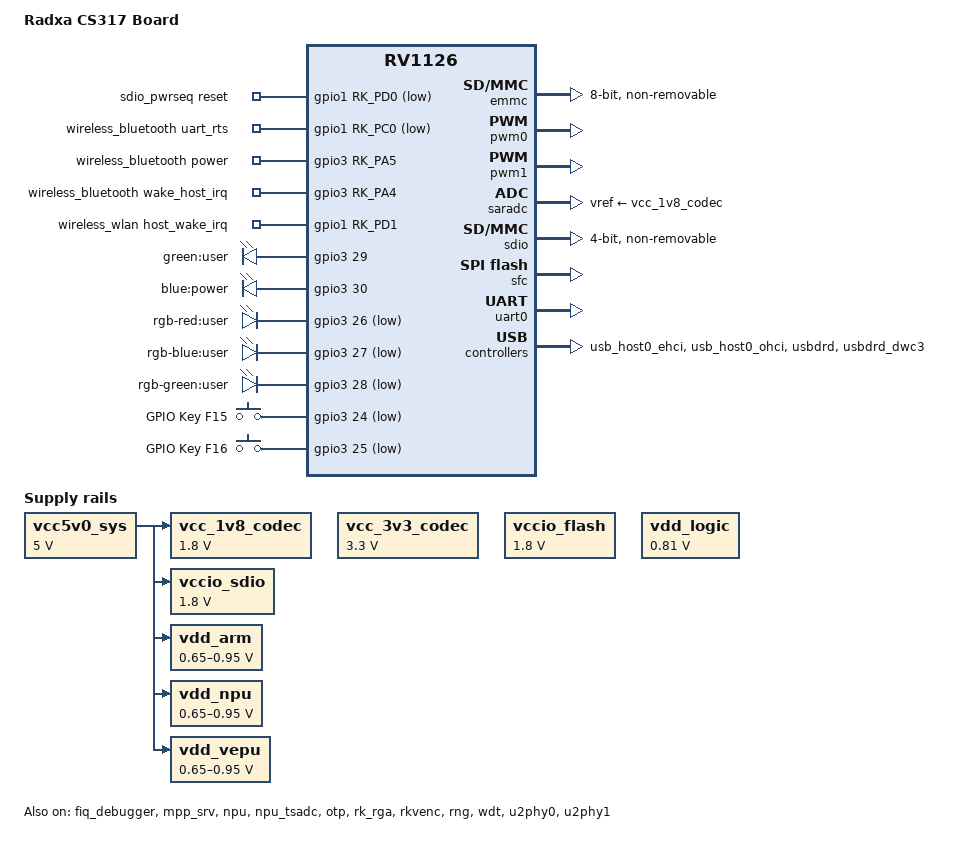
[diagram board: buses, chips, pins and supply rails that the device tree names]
/dts-v1/;

#include "rv1109.dtsi"
#include "rv1126.dtsi"
#include "rv1126-pinctrl.dtsi"
#include <dt-bindings/display/drm_mipi_dsi.h>
#include <dt-bindings/input/input.h>

/ {
	model = "Radxa CS317 Board";
	compatible = "rockchip,rv1109-CS317", "rockchip,rv1126";

	chosen {
		bootargs = "earlycon=uart8250,mmio32,0xff570000 console=ttyFIQ0 root=/dev/mmcblk0p6 rw rootfstype=ext4 rootwait";
		//bootargs = "earlycon=uart8250,mmio32,0xff570000 console=ttyFIQ0 root=PARTUUID=614e0000-0000 rootfstype=ext4 rootwait snd_aloop.index=7";
		//bootargs = "earlycon=uart8250,mmio32,0xfe660000 console=ttyFIQ0 root=/dev/mmcblk0p6 rw rootfstype=ext4 rootwait";
	};

	dummy_codec: dummy-codec {
		compatible = "rockchip,dummy-codec";
		#sound-dai-cells = <0>;
	};

	vcc5v0_sys: vccsys {
		compatible = "regulator-fixed";
		regulator-name = "vcc5v0_sys";
		regulator-always-on;
		regulator-boot-on;
		regulator-min-microvolt = <5000000>;
		regulator-max-microvolt = <5000000>;
	};

	vcc_3v3_codec: vcc_io: vcc-io {
        compatible = "regulator-fixed";
        regulator-name = "vcc_io";
        regulator-always-on;
        regulator-boot-on;
        regulator-min-microvolt = <3300000>;
        regulator-max-microvolt = <3300000>;
    };

	vcc_1v8_codec: vcc-1v8-codec {
		compatible = "regulator-fixed";
		regulator-name = "vcc_1v8_codec";
		regulator-always-on;
		regulator-boot-on;
		regulator-min-microvolt = <1800000>;
		regulator-max-microvolt = <1800000>;
		vin-supply = <&vcc5v0_sys>;
	};

	vccio_flash: vccio-flash {
		compatible = "regulator-fixed";
		regulator-name = "vccio_flash";
		regulator-always-on;
		regulator-boot-on;
		regulator-min-microvolt = <1800000>;
		regulator-max-microvolt = <1800000>;
	};

	vccio_sdio: vcc_1v8: vcc-1v8 {
        compatible = "regulator-fixed";
        regulator-name = "vcc_1v8";
        regulator-always-on;
        regulator-boot-on;
        regulator-min-microvolt = <1800000>;
        regulator-max-microvolt = <1800000>;
        vin-supply = <&vcc5v0_sys>;
    };

	vdd_arm: vdd-arm {
		compatible = "pwm-regulator";
		pwms = <&pwm0 0 5000 1>;
		regulator-name = "vdd_npu";
		regulator-min-microvolt = <650000>;
		regulator-max-microvolt = <950000>;
		regulator-init-microvolt = <800000>;
		regulator-always-on;
		regulator-boot-on;
		regulator-settling-time-up-us = <250>;
		pwm-supply = <&vcc5v0_sys>;
		status = "okay";
	};

	vdd_npu: vdd-npu {
		compatible = "pwm-regulator";
		pwms = <&pwm1 0 5000 1>;
		regulator-name = "vdd_npu";
		regulator-min-microvolt = <650000>;
		regulator-max-microvolt = <950000>;
		regulator-init-microvolt = <800000>;
		regulator-always-on;
		regulator-boot-on;
		regulator-settling-time-up-us = <250>;
		pwm-supply = <&vcc5v0_sys>;
		status = "okay";
	};

	vdd_vepu: vdd-vepu {
		compatible = "pwm-regulator";
		pwms = <&pwm1 0 5000 1>;
		regulator-name = "vdd_vepu";
		regulator-min-microvolt = <650000>;
		regulator-max-microvolt = <950000>;
		regulator-init-microvolt = <800000>;
		regulator-always-on;
		regulator-boot-on;
		regulator-settling-time-up-us = <250>;
		pwm-supply = <&vcc5v0_sys>;
		status = "okay";
	};

	vdd_logic: vdd-logic {
		compatible = "regulator-fixed";
		regulator-name = "vdd_logic";
		regulator-always-on;
		regulator-boot-on;
		regulator-min-microvolt = <810000>;
		regulator-max-microvolt = <810000>;
	};

	sdio_pwrseq: sdio-pwrseq {
		compatible = "mmc-pwrseq-simple";
		pinctrl-names = "default";
		pinctrl-0 = <&wifi_enable_h>;

		/*
		 * On the module itself this is one of these (depending
		 * on the actual card populated):
		 * - SDIO_RESET_L_WL_REG_ON
		 * - PDN (power down when low)
		 */
		reset-gpios = <&gpio1 RK_PD0 GPIO_ACTIVE_LOW>;	//GPIO1_D0----WIFI_REG_ON
	};

	wireless_bluetooth: wireless-bluetooth {
		compatible = "bluetooth-platdata";
		rockchip,pmugrf = <&pmugrf>;
		clocks = <&pmucru CLK_32K_IOE>;
		assigned-clocks = <&pmucru CLK_32K_IOE>;
		assigned-clock-parents = <&pmucru CLK_RTC32K>;
		uart_rts_gpios = <&gpio1 RK_PC0 GPIO_ACTIVE_LOW>;
		pinctrl-names = "default", "rts_gpio";
		pinctrl-0 = <&uart0_rtsn>;
		pinctrl-1 = <&uart0_rtsn_gpio>;
		BT,power_gpio    = <&gpio3 RK_PA5 GPIO_ACTIVE_HIGH>;
		BT,wake_host_irq = <&gpio3 RK_PA4 GPIO_ACTIVE_HIGH>;
		status = "okay";
	};

	wireless_wlan: wireless-wlan {
		compatible = "wlan-platdata";
		rockchip,grf = <&grf>;
		pinctrl-names = "default";
		pinctrl-0 = <&wifi_wake_host>;
		wifi_chip_type = "ap6254";
		/* WIFI,poweren_gpio = <&gpio0 RK_PA6 GPIO_ACTIVE_HIGH>; */
		WIFI,host_wake_irq = <&gpio1 RK_PD1 GPIO_ACTIVE_HIGH>;	//GPIO1_D1----WIFI_WAKE_HOST
		status = "okay";
	};

	gpio-leds {
		compatible = "gpio-leds";
		status = "okay";

		blue-led {
			label = "green:user";
			gpios = <&gpio3 29 GPIO_ACTIVE_HIGH>;	//GPIO3_D5
			linux,default-trigger = "default-on";
			default-state = "on";
		};

		green-led {
			label = "blue:power";
			gpios = <&gpio3 30 GPIO_ACTIVE_HIGH>;	//GPIO3_D6
			linux,default-trigger = "timer";
			default-state = "on";
		};
		
		rgb-red {
			label = "rgb-red:user";
			gpios = <&gpio3 26 GPIO_ACTIVE_LOW>;	//GPIO3_D2
			linux,default-trigger = "default-on";
			default-state = "off";
		};

		rgb-blue {
			label = "rgb-blue:user";
			gpios = <&gpio3 27 GPIO_ACTIVE_LOW>;	//GPIO3_D3
			linux,default-trigger = "default-on";
			default-state = "off";
		};

		rgb-green {
			label = "rgb-green:user";
			gpios = <&gpio3 28 GPIO_ACTIVE_LOW>;	//GPIO3_D4
			linux,default-trigger = "default-on";
			default-state = "off";
		};
	};

	gpio-keys {
        compatible = "gpio-keys";
        #address-cells = <1>;
        #size-cells = <0>;
        autorepeat;
        pinctrl-names = "default";
        pinctrl-0 = <&pwrbtn>;
                 
        F15 {
             gpios = <&gpio3 24 GPIO_ACTIVE_LOW>;	//GPIO3_D0
             linux,code = <KEY_F15>;
             label = "GPIO Key F15";
             linux,input-type = <1>;
             gpio-key,wakeup = <1>;
             debounce-interval = <100>;
        };

        F16 {
             gpios = <&gpio3 25 GPIO_ACTIVE_LOW>;	//GPIO3_D1
             linux,code = <KEY_F16>;
             label = "GPIO Key F16";
             linux,input-type = <1>;
             gpio-key,wakeup = <1>;
             debounce-interval = <100>;
        };
    };
};

&cpu0 {
	cpu-supply = <&vdd_arm>;
};

&cpu_tsadc {
	status = "okay";
};

&emmc {
	bus-width = <8>;
	cap-mmc-highspeed;
	non-removable;
	mmc-hs200-1_8v;
	rockchip,default-sample-phase = <90>;
	supports-emmc;
	/delete-property/ pinctrl-names;
	/delete-property/ pinctrl-0;
	status = "okay";
};

&fiq_debugger {
	status = "okay";
};

&mpp_srv {
	status = "okay";
};

&npu {
	status = "okay";
};

&npu_tsadc {
	status = "okay";
};

&optee {
	status = "disabled";
};

&otp {
	status = "okay";
};

&pdm {
	status = "disabled";
	#sound-dai-cells = <0>;
	pinctrl-names = "default";
	pinctrl-0 = <&pdmm0_clk
		     &pdmm0_clk1
		     &pdmm0_sdi0
		     &pdmm0_sdi1
		     &pdmm0_sdi2>;
};

&pinctrl {
	pinctrl-names = "default";
	pinctrl-0 = <&rtc_32k>;

	//32.768kHz
	rtc {
    	rtc_32k: rtc-32k {
               rockchip,pins =<0 RK_PA2 RK_FUNC_1 &pcfg_pull_none>;
    	};
    };

	sdio-pwrseq {
		///omit-if-no-ref/
		wifi_enable_h: wifi-enable-h {
			rockchip,pins = <1 RK_PD0 RK_FUNC_GPIO &pcfg_pull_none>;
		};
	};

	wireless-wlan {
		///omit-if-no-ref/
		wifi_wake_host: wifi-wake-host {
			rockchip,pins = <1 RK_PD1 0 &pcfg_pull_up>;
		};
	};

	key {
        pwrbtn:pwrbtn {
            rockchip,pins = 
                <3 RK_PD0 RK_FUNC_GPIO &pcfg_pull_up>,  
                <3 RK_PD1 RK_FUNC_GPIO &pcfg_pull_up>;  
        };
    };
};

&pmu_io_domains {
	vccio1-supply = <&vcc_1v8_codec>;
	vccio2-supply = <&vccio_sdio>;
	vccio3-supply = <&vcc_1v8_codec>;
	vccio4-supply = <&vcc_1v8_codec>;
	vccio5-supply = <&vcc_3v3_codec>;
	vccio6-supply = <&vcc_1v8_codec>;
	vccio7-supply = <&vcc_3v3_codec>;
};

&pwm0 {
	status = "okay";
	pinctrl-names = "active";
	pinctrl-0 = <&pwm0m0_pins_pull_down>;
};

&pwm1 {
	status = "okay";
	pinctrl-names = "active";
	pinctrl-0 = <&pwm1m0_pins_pull_down>;
};

&ramoops {
	status = "okay";
};

&rk_rga {
	status = "okay";
};

&rkvenc {
	status = "okay";
};

&rkvenc_mmu {
	status = "okay";
};

&rkvenc_opp_table {
	/*
	 * max IR-drop values on different freq condition for this board!
	 */
	rockchip,board-irdrop = <
	     /* MHz	MHz	uV */
		500	594	50000
	>;
};

&rng {
	status = "okay";
};

&rockchip_suspend {
	status = "okay";
	rockchip,sleep-debug-en = <1>;
	rockchip,sleep-mode-config = <
		(0
		| RKPM_SLP_ARMOFF
		| RKPM_SLP_PMU_PMUALIVE_32K
		| RKPM_SLP_PMU_DIS_OSC
		| RKPM_SLP_PMIC_LP
		)
	>;
	rockchip,wakeup-config = <
		(0
		| RKPM_GPIO_WKUP_EN
		)
	>;
};

&wdt {
	status = "okay";
};

&saradc {
	status = "okay";
	vref-supply = <&vcc_1v8_codec>;
};

&sdio {
	max-frequency = <200000000>;
	bus-width = <4>;
	cap-sd-highspeed;
	cap-sdio-irq;
	keep-power-in-suspend;
	non-removable;
	rockchip,default-sample-phase = <90>;
	sd-uhs-sdr104;
	supports-sdio;
	mmc-pwrseq = <&sdio_pwrseq>;
	status = "okay";
};

&sfc {
	/delete-property/ pinctrl-names;
	/delete-property/ pinctrl-0;
	status = "okay";
};

&u2phy0 {
	status = "okay";
	vup-gpios = <&gpio0 RK_PC1 GPIO_ACTIVE_LOW>;
	u2phy_otg: otg-port {
		status = "okay";
	};
};

&u2phy1 {
	status = "okay";
	u2phy_host: host-port {
		status = "okay";
		//phy-supply = <&vcc5v0_host>;
	};
};

&uart0 {
	pinctrl-names = "default";
	pinctrl-0 = <&uart0_xfer &uart0_ctsn>;
	status = "okay";
};

&usb_host0_ehci {
	status = "okay";
};

&usb_host0_ohci {
	status = "okay";
};

&usbdrd {
	status = "okay";
};

&usbdrd_dwc3 {
	status = "okay";
	extcon = <&u2phy0>;
};
